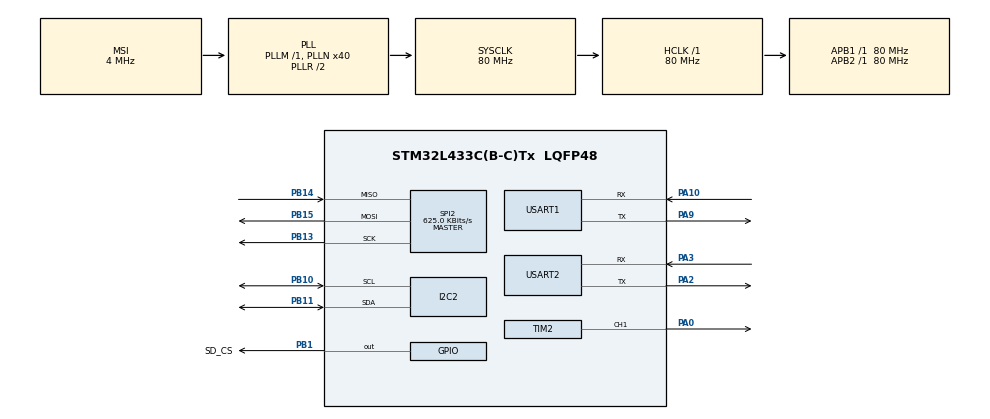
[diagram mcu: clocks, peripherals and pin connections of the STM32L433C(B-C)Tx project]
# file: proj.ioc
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Dma.Request0=TIM2_CH1
Dma.TIM2_CH1.0.Direction=DMA_MEMORY_TO_PERIPH
Dma.TIM2_CH1.0.Instance=DMA1_Channel5
Dma.TIM2_CH1.0.MemDataAlignment=DMA_MDATAALIGN_WORD
Dma.TIM2_CH1.0.MemInc=DMA_MINC_ENABLE
Dma.TIM2_CH1.0.Mode=DMA_NORMAL
Dma.TIM2_CH1.0.PeriphDataAlignment=DMA_PDATAALIGN_WORD
Dma.TIM2_CH1.0.PeriphInc=DMA_PINC_DISABLE
Dma.TIM2_CH1.0.Priority=DMA_PRIORITY_LOW
I2C2.Timing=0x10D19CE4
Mcu.Family=STM32L4
Mcu.Name=STM32L433C(B-C)Tx
Mcu.Package=LQFP48
NVIC.DMA1_Channel5_IRQn=true\:0\:0\:false\:false\:true\:false\:true\:true
NVIC.PriorityGroup=NVIC_PRIORITYGROUP_4
PA0.Signal=S_TIM2_CH1
PA10.Mode=Asynchronous
PA10.Signal=USART1_RX
PA2.Mode=Asynchronous
PA2.Signal=USART2_TX
PA3.Mode=Asynchronous
PA3.Signal=USART2_RX
PA9.Mode=Asynchronous
PA9.Signal=USART1_TX
PB1.GPIO_Label=SD_CS
PB1.Signal=GPIO_Output
PB10.Mode=I2C
PB10.Signal=I2C2_SCL
PB11.Mode=I2C
PB11.Signal=I2C2_SDA
PB13.Mode=Full_Duplex_Master
PB13.Signal=SPI2_SCK
PB14.Mode=Full_Duplex_Master
PB14.Signal=SPI2_MISO
PB15.Mode=Full_Duplex_Master
PB15.Signal=SPI2_MOSI
ProjectManager.HeapSize=0x200
ProjectManager.StackSize=0x400
ProjectManager.TargetToolchain=STM32CubeIDE
RCC.AHBFreq_Value=80000000
RCC.APB1Freq_Value=80000000
RCC.APB1TimFreq_Value=80000000
RCC.APB2Freq_Value=80000000
RCC.APB2TimFreq_Value=80000000
RCC.CortexFreq_Value=80000000
RCC.HCLKFreq_Value=80000000
RCC.HSE_VALUE=8000000
RCC.HSI48_VALUE=48000000
RCC.HSI_VALUE=16000000
RCC.LSE_VALUE=32768
RCC.MSI_VALUE=4000000
RCC.PLLN=40
RCC.SYSCLKFreq_VALUE=80000000
RCC.SYSCLKSource=RCC_SYSCLKSOURCE_PLLCLK
RCC.VCOOutputFreq_Value=160000000
SH.S_TIM2_CH1.0=TIM2_CH1,PWM Generation1 CH1
SPI2.BaudRatePrescaler=SPI_BAUDRATEPRESCALER_128
SPI2.CalculateBaudRate=625.0 KBits/s
SPI2.DataSize=SPI_DATASIZE_8BIT
SPI2.Direction=SPI_DIRECTION_2LINES
SPI2.Mode=SPI_MODE_MASTER
SPI2.VirtualType=VM_MASTER
TIM2.Channel-PWM\ Generation1\ CH1=TIM_CHANNEL_1
TIM2.Period=21
TIM2.Pulse-PWM\ Generation1\ CH1=14
USART1.VirtualMode-Asynchronous=VM_ASYNC
USART2.VirtualMode-Asynchronous=VM_ASYNC
VP_FATFS_VS_Generic.Mode=User_defined
VP_TIM2_VS_ClockSourceINT.Mode=Internal
board=custom

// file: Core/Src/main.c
/* USER CODE BEGIN Header */
/**
 ******************************************************************************
 * @file           : main.c
 * @brief          : Main program body
 ******************************************************************************
 * @attention
 *
 * Copyright (c) 2025 STMicroelectronics.
 * All rights reserved.
 *
 * This software is licensed under terms that can be found in the LICENSE file
 * in the root directory of this software component.
 * If no LICENSE file comes with this software, it is provided AS-IS.
 *
 ******************************************************************************
 */
/* USER CODE END Header */
#include "main.h"
#include "dma.h"
#include "fatfs.h"
#include "i2c.h"
#include "spi.h"
#include "tim.h"
#include "usart.h"
#include "gpio.h"

/* USER CODE BEGIN Includes */
#include <stdio.h>
#include <string.h>
#include <stdarg.h>
#include "OLED.h"
#include "SD_card.h"
/* USER CODE END Includes */

void SystemClock_Config(void);
/* USER CODE BEGIN PFP */
void myprintf(const char *fmt, ...);
/* USER CODE END PFP */

/* USER CODE BEGIN 0 */
void myprintf(const char *fmt, ...)
{
  static char buffer[256];
  va_list args;
  va_start(args, fmt);
  vsnprintf(buffer, sizeof(buffer), fmt, args);
  va_end(args);

  int len = strlen(buffer);
  HAL_UART_Transmit(&huart2, (uint8_t *)buffer, len, -1);
}

typedef struct
{
  char name[65];
  char artist[65];
  int bpm;
  char difficulty[12]; // N/A, EASY, MEDIUM, HARD, EXPERT, GIGA
  int offset_ms;       // 0..1000
} SongInfo;

static void trim_crlf(char *s)
{
  size_t n = strlen(s);
  while (n && (s[n - 1] == '\r' || s[n - 1] == '\n'))
  {
    s[--n] = 0;
  }
}

static int ends_with_case(const char *s, const char *ext)
{
  size_t ls = strlen(s), le = strlen(ext);
  if (ls < le)
    return 0;
  for (size_t i = 0; i < le; i++)
  {
    char a = s[ls - le + i], b = ext[i];
    if (a >= 'A' && a <= 'Z')
      a += 32;
    if (b >= 'A' && b <= 'Z')
      b += 32;
    if (a != b)
      return 0;
  }
  return 1;
}

static void replace_ext(char *path, const char *newext)
{
  char *dot = NULL;
  for (char *p = path; *p; ++p)
    if (*p == '.')
      dot = p;
  if (!dot)
    return;
  strcpy(dot, newext);
}

// 0:/xxx.tsq
static FRESULT parse_tsq_header(const char *tsq_path, SongInfo *info)
{
  FIL f;
  FRESULT fr;
  memset(info, 0, sizeof(*info));
  strcpy(info->difficulty, "N/A");
  info->offset_ms = 0;

  fr = f_open(&f, tsq_path, FA_READ | FA_OPEN_EXISTING);
  if (fr != FR_OK)
    return fr;

  char line[160];
  for (;;)
  {
    TCHAR *r = f_gets((TCHAR *)line, sizeof(line), &f);
    if (!r)
      break;
    trim_crlf(line);
    if (strcmp(line, "---") == 0)
      break; // end of header

    if (strncmp(line, "Name:", 5) == 0)
    {
      strncpy(info->name, line + 5, sizeof(info->name) - 1);
      while (info->name[0] == ' ')
        memmove(info->name, info->name + 1, strlen(info->name));
    }
    else if (strncmp(line, "Artist:", 7) == 0)
    {
      strncpy(info->artist, line + 7, sizeof(info->artist) - 1);
      while (info->artist[0] == ' ')
        memmove(info->artist, info->artist + 1, strlen(info->artist));
    }
    else if (strncmp(line, "BPM:", 4) == 0)
    {
      info->bpm = atoi(line + 4);
    }
    else if (strncmp(line, "Difficulty:", 11) == 0)
    {
      strncpy(info->difficulty, line + 11, sizeof(info->difficulty) - 1);
      while (info->difficulty[0] == ' ')
        memmove(info->difficulty, info->difficulty + 1, strlen(info->difficulty));
    }
    else if (strncmp(line, "Offset:", 7) == 0)
    {
      info->offset_ms = atoi(line + 7);
    }
    //
  }
  f_close(&f);
  return FR_OK;
}

// read wav header
static FRESULT parse_wav_info(const char *wav_path,
                              uint16_t *channels, uint32_t *sr,
                              uint16_t *bits, uint32_t *duration_ms)
{
  FIL f;
  FRESULT fr;
  *channels = 0;
  *sr = 0;
  *bits = 0;
  *duration_ms = 0;

  fr = f_open(&f, wav_path, FA_READ | FA_OPEN_EXISTING);
  if (fr != FR_OK)
    return fr;

  // RIFF(4) + size(4) + WAVE(4)
  BYTE hdr[12];
  UINT br = 0;
  fr = f_read(&f, hdr, 12, &br);
  if (fr != FR_OK || br != 12 || memcmp(hdr, "RIFF", 4) || memcmp(hdr + 8, "WAVE", 4))
  {
    f_close(&f);
    return FR_INT_ERR;
  }

  uint32_t data_size = 0;
  for (;;)
  {
    BYTE chdr[8];
    br = 0;
    fr = f_read(&f, chdr, 8, &br);
    if (fr != FR_OK)
    {
      f_close(&f);
      return fr;
    }
    if (br != 8)
    {
      break;
    } // EOF

    uint32_t sz = chdr[4] | (chdr[5] << 8) | (chdr[6] << 16) | (chdr[7] << 24);

    if (!memcmp(chdr, "fmt ", 4))
    {
      BYTE fmt[32];
      UINT toread = (sz > sizeof(fmt)) ? sizeof(fmt) : sz;
      fr = f_read(&f, fmt, toread, &br);
      if (fr != FR_OK)
      {
        f_close(&f);
        return fr;
      }
      if (br < 16)
      {
        f_close(&f);
        return FR_INT_ERR;
      }
      uint16_t audioFmt = fmt[0] | (fmt[1] << 8);
      *channels = fmt[2] | (fmt[3] << 8);
      *sr = fmt[4] | (fmt[5] << 8) | (fmt[6] << 16) | (fmt[7] << 24);
      *bits = fmt[14] | (fmt[15] << 8);
      if (sz > toread)
        f_lseek(&f, f_tell(&f) + (sz - toread));
      if (audioFmt != 1)
      {
      }
    }
    else if (!memcmp(chdr, "data", 4))
    {
      data_size = sz;
      f_lseek(&f, f_tell(&f) + sz);
    }
    else
    {
      f_lseek(&f, f_tell(&f) + sz);
    }
    if (sz & 1)
      f_lseek(&f, f_tell(&f) + 1);
  }

  f_close(&f);
  if (*sr && *channels && *bits && data_size)
  {
    uint32_t bytes_per_sec = (*sr) * (*channels) * ((*bits) / 8);
    *duration_ms = (bytes_per_sec) ? (uint32_t)((1000ULL * data_size) / bytes_per_sec) : 0;
    return FR_OK;
  }
  return FR_INT_ERR;
}

/* USER CODE END 0 */

int main(void)
{

  /* MCU Configuration--------------------------------------------------------*/

  /* Reset of all peripherals, Initializes the Flash interface and the Systick. */
  HAL_Init();

  /* Configure the system clock */
  SystemClock_Config();

  /* Initialize all configured peripherals */
  MX_GPIO_Init();
  MX_DMA_Init();
  MX_TIM2_Init();
  MX_USART1_UART_Init();
  MX_FATFS_Init();
  MX_SPI2_Init();
  MX_USART2_UART_Init();
  MX_I2C2_Init();
  /* USER CODE BEGIN 2 */

  OLED_Init(&hi2c2);

  myprintf("\r\n~ tsq + wav info reader ~\r\n");
  HAL_Delay(800);

  FATFS FatFs;
  FRESULT fres;
  fres = f_mount(&FatFs, "0:", 1);
  if (fres != FR_OK)
  {
    myprintf("f_mount error (%d)\r\n", (int)fres);
    while (1)
      ;
  }

  // 2) liat all the file .tsq
  DIR dir;
  FILINFO fno;
  fres = f_opendir(&dir, "0:/");
  if (fres != FR_OK)
  {
    myprintf("f_opendir error (%d)\r\n", (int)fres);
    while (1)
      ;
  }

  myprintf("Scanning 0:/ for .tsq ...\r\n");
  for (;;)
  {
    fres = f_readdir(&dir, &fno);
    if (fres != FR_OK)
    {
      myprintf("f_readdir error (%d)\r\n", (int)fres);
      break;
    }
    if (fno.fname[0] == 0)
      break; // end of dir

    // if the file is a .tsq
    if (!(fno.fattrib & AM_DIR) && ends_with_case(fno.fname, ".tsq"))
    {
      char tsq_path[128] = "0:/";
      strncat(tsq_path, fno.fname, sizeof(tsq_path) - 4);

      SongInfo si;
      FRESULT fr1 = parse_tsq_header(tsq_path, &si);
      if (fr1 != FR_OK)
      {
        myprintf("TSQ parse fail (%d): %s\r\n", (int)fr1, tsq_path);
        continue;
      }

      // print the song info
      myprintf("\r\n[Sequence]\r\n  File: %s\r\n  Name: %s\r\n  Artist: %s\r\n  BPM: %d\r\n  Difficulty: %s\r\n  Offset: %d ms\r\n",
               tsq_path, si.name[0] ? si.name : "(N/A)", si.artist[0] ? si.artist : "(N/A)",
               si.bpm, si.difficulty, si.offset_ms);

      // 3) wav info
      char wav_path[128];
      strncpy(wav_path, tsq_path, sizeof(wav_path) - 1);
      wav_path[sizeof(wav_path) - 1] = 0;
      replace_ext(wav_path, ".wav");
      uint16_t ch = 0, bits = 0;
      uint32_t sr = 0, dur_ms = 0;
      FRESULT fr2 = parse_wav_info(wav_path, &ch, &sr, &bits, &dur_ms);
      if (fr2 == FR_OK)
      {
        uint32_t mm = dur_ms / 60000U;
        uint32_t ss = (dur_ms % 60000U) / 1000U;
        myprintf("[Audio]\r\n  File: %s\r\n  %u ch, %lu Hz, %u-bit\r\n  Length: %02lu:%02lu\r\n",
                 wav_path, (unsigned)ch, (unsigned long)sr, (unsigned)bits,
                 (unsigned long)mm, (unsigned long)ss);
      }
      else
      {
        myprintf("[Audio]\r\n  File: %s\r\n  open/parse failed (%d)\r\n", wav_path, (int)fr2);
      }
    }
  }
  f_closedir(&dir);

  // 4) unmount the filesystem
  f_mount(NULL, "0:", 0);

  /* USER CODE END 2 */

  /* Infinite loop */
  while (1)
  {

  }
}

void SystemClock_Config(void)
{
  RCC_OscInitTypeDef RCC_OscInitStruct = {0};
  RCC_ClkInitTypeDef RCC_ClkInitStruct = {0};

  /** Configure the main internal regulator output voltage
  */
  if (HAL_PWREx_ControlVoltageScaling(PWR_REGULATOR_VOLTAGE_SCALE1) != HAL_OK)
  {
    Error_Handler();
  }

  /** Initializes the RCC Oscillators according to the specified parameters
  * in the RCC_OscInitTypeDef structure.
  */
  RCC_OscInitStruct.OscillatorType = RCC_OSCILLATORTYPE_MSI;
  RCC_OscInitStruct.MSIState = RCC_MSI_ON;
  RCC_OscInitStruct.MSICalibrationValue = 0;
  RCC_OscInitStruct.MSIClockRange = RCC_MSIRANGE_6;
  RCC_OscInitStruct.PLL.PLLState = RCC_PLL_ON;
  RCC_OscInitStruct.PLL.PLLSource = RCC_PLLSOURCE_MSI;
  RCC_OscInitStruct.PLL.PLLM = 1;
  RCC_OscInitStruct.PLL.PLLN = 40;
  RCC_OscInitStruct.PLL.PLLP = RCC_PLLP_DIV7;
  RCC_OscInitStruct.PLL.PLLQ = RCC_PLLQ_DIV2;
  RCC_OscInitStruct.PLL.PLLR = RCC_PLLR_DIV2;
  if (HAL_RCC_OscConfig(&RCC_OscInitStruct) != HAL_OK)
  {
    Error_Handler();
  }

  /** Initializes the CPU, AHB and APB buses clocks
  */
  RCC_ClkInitStruct.ClockType = RCC_CLOCKTYPE_HCLK|RCC_CLOCKTYPE_SYSCLK
                              |RCC_CLOCKTYPE_PCLK1|RCC_CLOCKTYPE_PCLK2;
  RCC_ClkInitStruct.SYSCLKSource = RCC_SYSCLKSOURCE_PLLCLK;
  RCC_ClkInitStruct.AHBCLKDivider = RCC_SYSCLK_DIV1;
  RCC_ClkInitStruct.APB1CLKDivider = RCC_HCLK_DIV1;
  RCC_ClkInitStruct.APB2CLKDivider = RCC_HCLK_DIV1;

  if (HAL_RCC_ClockConfig(&RCC_ClkInitStruct, FLASH_LATENCY_4) != HAL_OK)
  {
    Error_Handler();
  }
}

void Error_Handler(void)
{
  __disable_irq();
  while (1)
  {
  }
}
